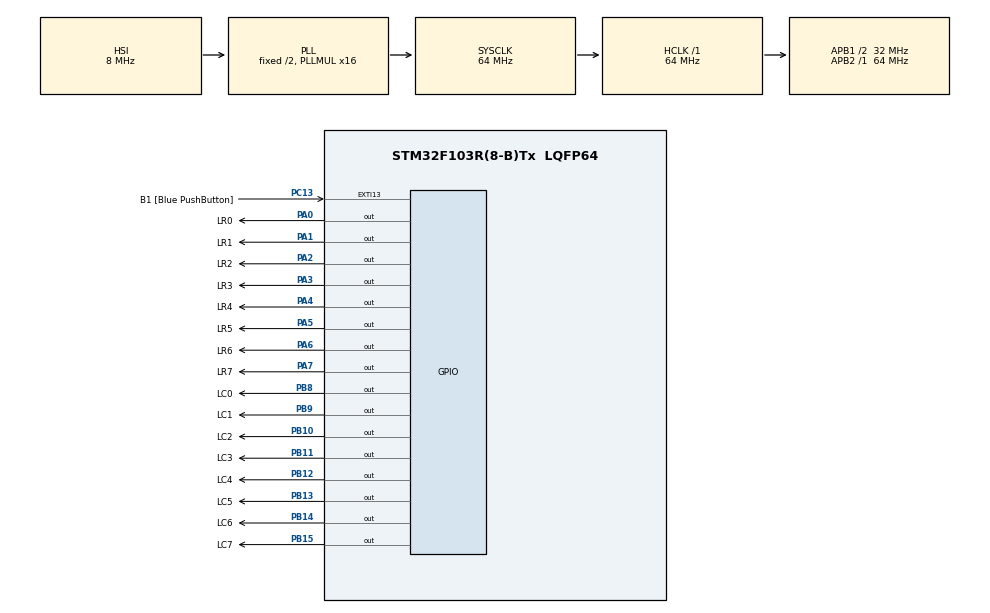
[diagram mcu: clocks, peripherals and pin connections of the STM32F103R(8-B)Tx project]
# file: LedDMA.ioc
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Dma.MEMTOMEM.0.Direction=DMA_MEMORY_TO_MEMORY
Dma.MEMTOMEM.0.Instance=DMA1_Channel1
Dma.MEMTOMEM.0.MemDataAlignment=DMA_MDATAALIGN_BYTE
Dma.MEMTOMEM.0.MemInc=DMA_MINC_DISABLE
Dma.MEMTOMEM.0.Mode=DMA_NORMAL
Dma.MEMTOMEM.0.PeriphDataAlignment=DMA_PDATAALIGN_BYTE
Dma.MEMTOMEM.0.PeriphInc=DMA_PINC_ENABLE
Dma.MEMTOMEM.0.Priority=DMA_PRIORITY_MEDIUM
Dma.MEMTOMEM.1.Direction=DMA_MEMORY_TO_MEMORY
Dma.MEMTOMEM.1.Instance=DMA1_Channel2
Dma.MEMTOMEM.1.MemDataAlignment=DMA_MDATAALIGN_HALFWORD
Dma.MEMTOMEM.1.MemInc=DMA_MINC_DISABLE
Dma.MEMTOMEM.1.Mode=DMA_NORMAL
Dma.MEMTOMEM.1.PeriphDataAlignment=DMA_PDATAALIGN_HALFWORD
Dma.MEMTOMEM.1.PeriphInc=DMA_PINC_ENABLE
Dma.MEMTOMEM.1.Priority=DMA_PRIORITY_LOW
Dma.Request0=MEMTOMEM
Dma.Request1=MEMTOMEM
Mcu.Family=STM32F1
Mcu.Name=STM32F103R(8-B)Tx
Mcu.Package=LQFP64
NVIC.EXTI15_10_IRQn=true\:0\:0\:false\:false\:true
NVIC.PriorityGroup=NVIC_PRIORITYGROUP_4
PA0-WKUP.GPIO_Label=LR0
PA0-WKUP.Signal=GPIO_Output
PA1.GPIO_Label=LR1
PA1.Signal=GPIO_Output
PA13.GPIO_Label=TMS
PA13.Mode=Serial_Wire
PA13.Signal=SYS_JTMS-SWDIO
PA14.GPIO_Label=TCK
PA14.Mode=Serial_Wire
PA14.Signal=SYS_JTCK-SWCLK
PA2.GPIO_Label=LR2
PA2.Signal=GPIO_Output
PA3.GPIO_Label=LR3
PA3.Signal=GPIO_Output
PA4.GPIO_Label=LR4
PA4.Signal=GPIO_Output
PA5.GPIO_Label=LR5
PA5.Signal=GPIO_Output
PA6.GPIO_Label=LR6
PA6.Signal=GPIO_Output
PA7.GPIO_Label=LR7
PA7.Signal=GPIO_Output
PB10.GPIO_Label=LC2
PB10.Signal=GPIO_Output
PB11.GPIO_Label=LC3
PB11.Signal=GPIO_Output
PB12.GPIO_Label=LC4
PB12.Signal=GPIO_Output
PB13.GPIO_Label=LC5
PB13.Signal=GPIO_Output
PB14.GPIO_Label=LC6
PB14.Signal=GPIO_Output
PB15.GPIO_Label=LC7
PB15.Signal=GPIO_Output
PB3.GPIO_Label=SWO
PB3.Signal=SYS_JTDO-TRACESWO
PB8.GPIO_Label=LC0
PB8.Signal=GPIO_Output
PB9.GPIO_Label=LC1
PB9.Signal=GPIO_Output
PC13-TAMPER-RTC.GPIO_Label=B1 [Blue PushButton]
PC13-TAMPER-RTC.GPIO_ModeDefaultEXTI=GPIO_MODE_IT_FALLING
PC13-TAMPER-RTC.GPIO_PuPd=GPIO_NOPULL
PC13-TAMPER-RTC.Signal=GPXTI13
PC14-OSC32_IN.Signal=RCC_OSC32_IN
PC15-OSC32_OUT.Signal=RCC_OSC32_OUT
PD0-OSC_IN.Signal=RCC_OSC_IN
PD1-OSC_OUT.Signal=RCC_OSC_OUT
ProjectManager.HeapSize=0x200
ProjectManager.StackSize=0x400
ProjectManager.TargetToolchain=SW4STM32
RCC.AHBFreq_Value=64000000
RCC.APB1CLKDivider=RCC_HCLK_DIV2
RCC.APB1Freq_Value=32000000
RCC.APB1TimFreq_Value=64000000
RCC.APB2Freq_Value=64000000
RCC.APB2TimFreq_Value=64000000
RCC.HCLKFreq_Value=64000000
RCC.PLLMUL=RCC_PLL_MUL16
RCC.SYSCLKFreq_VALUE=64000000
RCC.SYSCLKSource=RCC_SYSCLKSOURCE_PLLCLK
RCC.USBFreq_Value=64000000
board=NUCLEO-F103RB

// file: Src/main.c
/**
 ******************************************************************************
 * File Name          : main.c
 * Description        : Main program body
 ******************************************************************************
 ** This notice applies to any and all portions of this file
 * that are not between comment pairs USER CODE BEGIN and
 * USER CODE END. Other portions of this file, whether
 * inserted by the user or by software development tools
 * are owned by their respective copyright owners.
 *
 * COPYRIGHT(c) 2017 STMicroelectronics
 *
 * Redistribution and use in source and binary forms, with or without modification,
 * are permitted provided that the following conditions are met:
 *   1. Redistributions of source code must retain the above copyright notice,
 *      this list of conditions and the following disclaimer.
 *   2. Redistributions in binary form must reproduce the above copyright notice,
 *      this list of conditions and the following disclaimer in the documentation
 *      and/or other materials provided with the distribution.
 *   3. Neither the name of STMicroelectronics nor the names of its contributors
 *      may be used to endorse or promote products derived from this software
 *      without specific prior written permission.
 *
 * THIS SOFTWARE IS PROVIDED BY THE COPYRIGHT HOLDERS AND CONTRIBUTORS "AS IS"
 * AND ANY EXPRESS OR IMPLIED WARRANTIES, INCLUDING, BUT NOT LIMITED TO, THE
 * IMPLIED WARRANTIES OF MERCHANTABILITY AND FITNESS FOR A PARTICULAR PURPOSE ARE
 * DISCLAIMED. IN NO EVENT SHALL THE COPYRIGHT HOLDER OR CONTRIBUTORS BE LIABLE
 * FOR ANY DIRECT, INDIRECT, INCIDENTAL, SPECIAL, EXEMPLARY, OR CONSEQUENTIAL
 * DAMAGES (INCLUDING, BUT NOT LIMITED TO, PROCUREMENT OF SUBSTITUTE GOODS OR
 * SERVICES; LOSS OF USE, DATA, OR PROFITS; OR BUSINESS INTERRUPTION) HOWEVER
 * CAUSED AND ON ANY THEORY OF LIABILITY, WHETHER IN CONTRACT, STRICT LIABILITY,
 * OR TORT (INCLUDING NEGLIGENCE OR OTHERWISE) ARISING IN ANY WAY OUT OF THE USE
 * OF THIS SOFTWARE, EVEN IF ADVISED OF THE POSSIBILITY OF SUCH DAMAGE.
 *
 ******************************************************************************
 */
#include "main.h"
#include "stm32f1xx_hal.h"

DMA_HandleTypeDef hdma_memtomem_dma1_channel1;
DMA_HandleTypeDef hdma_memtomem_dma1_channel2;

/* USER CODE BEGIN PV */
/* Private variables ---------------------------------------------------------*/

/* USER CODE END PV */

void SystemClock_Config(void);
static void MX_GPIO_Init(void);
static void MX_DMA_Init(void);

/* USER CODE BEGIN PFP */
/* Private function prototypes -----------------------------------------------*/
#define DELAYTIME 150
/* USER CODE END PFP */

/* USER CODE BEGIN 0 */

//I use PB_8 to P_B15 instead of P_B0 to P_B7, so 0x0100 instead of 0x01.
const uint16_t columnchange[128] = {
		0x0100, 0x0100, 0x0100, 0x0100, 0x0100, 0x0100, 0x0100, 0x0100, 0x0100, 0x0100, 0x0100, 0x0100, 0x0100, 0x0100, 0x0100, 0x0100,
		0x0200, 0x0200, 0x0200, 0x0200, 0x0200, 0x0200, 0x0200, 0x0200, 0x0200, 0x0200, 0x0200, 0x0200, 0x0200, 0x0200, 0x0200, 0x0200,
		0x0400, 0x0400, 0x0400, 0x0400, 0x0400, 0x0400, 0x0400, 0x0400, 0x0400, 0x0400, 0x0400, 0x0400, 0x0400, 0x0400, 0x0400, 0x0400,
		0x0800, 0x0800, 0x0800, 0x0800, 0x0800, 0x0800, 0x0800, 0x0800, 0x0800, 0x0800, 0x0800, 0x0800, 0x0800, 0x0800, 0x0800, 0x0800,
		0x1000, 0x1000, 0x1000, 0x1000, 0x1000, 0x1000, 0x1000, 0x1000, 0x1000, 0x1000, 0x1000, 0x1000, 0x1000, 0x1000, 0x1000, 0x1000,
		0x2000, 0x2000, 0x2000, 0x2000, 0x2000, 0x2000, 0x2000, 0x2000, 0x2000, 0x2000, 0x2000, 0x2000, 0x2000, 0x2000, 0x2000, 0x2000,
		0x4000, 0x4000, 0x4000, 0x4000, 0x4000, 0x4000, 0x4000, 0x4000, 0x4000, 0x4000, 0x4000, 0x4000, 0x4000, 0x4000, 0x4000, 0x4000,
		0x8000, 0x8000, 0x8000, 0x8000, 0x8000, 0x8000, 0x8000, 0x8000, 0x8000, 0x8000, 0x8000, 0x8000, 0x8000, 0x8000, 0x8000, 0x8000};

uint8_t bufin[8][8] = {
		{0x01,0x03,0x05,0x07,0x09,0x0B,0x0D,0x10},
		{0x01,0x03,0x05,0x07,0x09,0x0B,0x0D,0x10},
		{0x01,0x03,0x05,0x07,0x09,0x0B,0x0D,0x10},
		{0x01,0x03,0x05,0x07,0x09,0x0B,0x0D,0x10},
		{0x01,0x03,0x05,0x07,0x09,0x0B,0x0D,0x10},
		{0x01,0x03,0x05,0x07,0x09,0x0B,0x0D,0x10},
		{0x01,0x03,0x05,0x07,0x09,0x0B,0x0D,0x10},
		{0x01,0x03,0x05,0x07,0x09,0x0B,0x0D,0x10}};

uint8_t bufout[128] = {0};

//Converts the normal 8*8 array to one that the DMA understands.
void convertarray(uint8_t arrout[], uint8_t arrin[], uint8_t X, uint8_t Y, uint8_t bits)
{
	uint64_t TempArr[8] = {0};
	uint16_t bitsPow2 = 1<<bits;
	uint16_t bitsPowminus = bitsPow2-1;
	for(int x = 0; x < 8; x++)
	{
		for(int i = 0; i < 8; i++)
		{
			TempArr[i] = (((uint64_t)1<<(uint64_t)arrin[(x*8)+i])-1);
		}
		for(int i = 0; i < bitsPow2; i++)
		{
			arrout[(x*bitsPow2)+i] =  ((TempArr[0]>>(bitsPowminus-i)&1)<<7);
			arrout[(x*bitsPow2)+i] += ((TempArr[1]>>(bitsPowminus-i)&1)<<6);
			arrout[(x*bitsPow2)+i] += ((TempArr[2]>>(bitsPowminus-i)&1)<<5);
			arrout[(x*bitsPow2)+i] += ((TempArr[3]>>(bitsPowminus-i)&1)<<4);
			arrout[(x*bitsPow2)+i] += ((TempArr[4]>>(bitsPowminus-i)&1)<<3);
			arrout[(x*bitsPow2)+i] += ((TempArr[5]>>(bitsPowminus-i)&1)<<2);
			arrout[(x*bitsPow2)+i] += ((TempArr[6]>>(bitsPowminus-i)&1)<<1);
			arrout[(x*bitsPow2)+i] += ((TempArr[7]>>(bitsPowminus-i)&1));
		}
	}
}

//Shift all datapoints in the 8*8 array one place left.
void left_rotate(uint8_t array[8][8])
{
	for(int i = 0; i < 8; i++)
	{
		uint8_t temp = array[i][0];
		for(int n = 0; n < 8; n++)
		{
			array[i][n] = array[i][n+1];
		}
		array[i][7] = temp;
	}
}

//The HAL_DMA_Start command has a lot of checks, to enable both DMA channels almost exactly at the same time
//the HAL_DMA_SetReady function can be used. It only setups the DMA so the quick method of just setting the
//enable bit can be used to start the DMA
HAL_StatusTypeDef HAL_DMA_SetReady(DMA_HandleTypeDef *hdma, uint32_t SrcAddress, uint32_t DstAddress, uint32_t DataLength)
{
	/* Process locked */
	__HAL_LOCK(hdma);

	/* Change DMA peripheral state */
	hdma->State = HAL_DMA_STATE_BUSY;

	/* Check the parameters */
	assert_param(IS_DMA_BUFFER_SIZE(DataLength));

	/* Disable the peripheral */
	__HAL_DMA_DISABLE(hdma);

	/* Configure the source, destination address and the data length */
	/* Configure DMA Channel data length */
	hdma->Instance->CNDTR = DataLength;

	/* Peripheral to Memory */
	if((hdma->Init.Direction) == DMA_MEMORY_TO_PERIPH)
	{
		/* Configure DMA Channel destination address */
		hdma->Instance->CPAR = DstAddress;

		/* Configure DMA Channel source address */
		hdma->Instance->CMAR = SrcAddress;
	}
	/* Memory to Peripheral */
	else
	{
		/* Configure DMA Channel source address */
		hdma->Instance->CPAR = SrcAddress;

		/* Configure DMA Channel destination address */
		hdma->Instance->CMAR = DstAddress;
	}

	return HAL_OK;
}

/* USER CODE END 0 */

int main(void)
{

	/* MCU Configuration----------------------------------------------------------*/

	/* Reset of all peripherals, Initializes the Flash interface and the Systick. */
	HAL_Init();

	/* Configure the system clock */
	SystemClock_Config();

	/* Initialize all configured peripherals */
	MX_GPIO_Init();
	MX_DMA_Init();

	/* USER CODE BEGIN 2 */
	//Set the DMA to transfer data from ledbug1/columnchange to the GPIOA and GPIOB register
	HAL_DMA_SetReady(&hdma_memtomem_dma1_channel1, (uint32_t *)bufout, &GPIOA->ODR, 128);
	HAL_DMA_SetReady(&hdma_memtomem_dma1_channel2, (uint32_t *)columnchange, &GPIOB->ODR, 128);
	DMA1_Channel1->CCR |= 0x01;
	DMA1_Channel2->CCR |= 0x01;
	/* USER CODE END 2 */

	/* Infinite loop */
	while (1)
	{
		left_rotate(bufin);
		convertarray(bufout, (uint8_t*)bufin, 8, 8, 4);
		HAL_Delay(DELAYTIME);
	}

}

/** System Clock Configuration
 */
void SystemClock_Config(void)
{

	RCC_OscInitTypeDef RCC_OscInitStruct;
	RCC_ClkInitTypeDef RCC_ClkInitStruct;

	/**Initializes the CPU, AHB and APB busses clocks
	 */
	RCC_OscInitStruct.OscillatorType = RCC_OSCILLATORTYPE_HSI;
	RCC_OscInitStruct.HSIState = RCC_HSI_ON;
	RCC_OscInitStruct.HSICalibrationValue = 16;
	RCC_OscInitStruct.PLL.PLLState = RCC_PLL_ON;
	RCC_OscInitStruct.PLL.PLLSource = RCC_PLLSOURCE_HSI_DIV2;
	RCC_OscInitStruct.PLL.PLLMUL = RCC_PLL_MUL16;
	if (HAL_RCC_OscConfig(&RCC_OscInitStruct) != HAL_OK)
	{
		_Error_Handler(__FILE__, __LINE__);
	}

	/**Initializes the CPU, AHB and APB busses clocks
	 */
	RCC_ClkInitStruct.ClockType = RCC_CLOCKTYPE_HCLK|RCC_CLOCKTYPE_SYSCLK
			|RCC_CLOCKTYPE_PCLK1|RCC_CLOCKTYPE_PCLK2;
	RCC_ClkInitStruct.SYSCLKSource = RCC_SYSCLKSOURCE_PLLCLK;
	RCC_ClkInitStruct.AHBCLKDivider = RCC_SYSCLK_DIV1;
	RCC_ClkInitStruct.APB1CLKDivider = RCC_HCLK_DIV2;
	RCC_ClkInitStruct.APB2CLKDivider = RCC_HCLK_DIV1;

	if (HAL_RCC_ClockConfig(&RCC_ClkInitStruct, FLASH_LATENCY_2) != HAL_OK)
	{
		_Error_Handler(__FILE__, __LINE__);
	}

	/**Configure the Systick interrupt time
	 */
	HAL_SYSTICK_Config(HAL_RCC_GetHCLKFreq()/1000);

	/**Configure the Systick
	 */
	HAL_SYSTICK_CLKSourceConfig(SYSTICK_CLKSOURCE_HCLK);

	/* SysTick_IRQn interrupt configuration */
	HAL_NVIC_SetPriority(SysTick_IRQn, 0, 0);
}

static void MX_DMA_Init(void)
{
	/* DMA controller clock enable */
	__HAL_RCC_DMA1_CLK_ENABLE();

	/* Configure DMA request hdma_memtomem_dma1_channel1 on DMA1_Channel1 */
	hdma_memtomem_dma1_channel1.Instance = DMA1_Channel1;
	hdma_memtomem_dma1_channel1.Init.Direction = DMA_MEMORY_TO_MEMORY;
	hdma_memtomem_dma1_channel1.Init.PeriphInc = DMA_PINC_ENABLE;
	hdma_memtomem_dma1_channel1.Init.MemInc = DMA_MINC_DISABLE;
	hdma_memtomem_dma1_channel1.Init.PeriphDataAlignment = DMA_PDATAALIGN_BYTE;
	hdma_memtomem_dma1_channel1.Init.MemDataAlignment = DMA_MDATAALIGN_BYTE;
	hdma_memtomem_dma1_channel1.Init.Mode = DMA_CIRCULAR;
	hdma_memtomem_dma1_channel1.Init.Priority = DMA_PRIORITY_MEDIUM;
	if (HAL_DMA_Init(&hdma_memtomem_dma1_channel1) != HAL_OK)
	{
		_Error_Handler(__FILE__, __LINE__);
	}

	/* Configure DMA request hdma_memtomem_dma1_channel2 on DMA1_Channel2 */
	hdma_memtomem_dma1_channel2.Instance = DMA1_Channel2;
	hdma_memtomem_dma1_channel2.Init.Direction = DMA_MEMORY_TO_MEMORY;
	hdma_memtomem_dma1_channel2.Init.PeriphInc = DMA_PINC_ENABLE;
	hdma_memtomem_dma1_channel2.Init.MemInc = DMA_MINC_DISABLE;
	hdma_memtomem_dma1_channel2.Init.PeriphDataAlignment = DMA_PDATAALIGN_HALFWORD;
	hdma_memtomem_dma1_channel2.Init.MemDataAlignment = DMA_MDATAALIGN_HALFWORD;
	hdma_memtomem_dma1_channel2.Init.Mode = DMA_CIRCULAR;
	hdma_memtomem_dma1_channel2.Init.Priority = DMA_PRIORITY_LOW;
	if (HAL_DMA_Init(&hdma_memtomem_dma1_channel2) != HAL_OK)
	{
		_Error_Handler(__FILE__, __LINE__);
	}

}

/** Configure pins as
 * Analog
 * Input
 * Output
 * EVENT_OUT
 * EXTI
 */
static void MX_GPIO_Init(void)
{

	GPIO_InitTypeDef GPIO_InitStruct;

	/* GPIO Ports Clock Enable */
	__HAL_RCC_GPIOC_CLK_ENABLE();
	__HAL_RCC_GPIOD_CLK_ENABLE();
	__HAL_RCC_GPIOA_CLK_ENABLE();
	__HAL_RCC_GPIOB_CLK_ENABLE();

	/*Configure GPIO pin Output Level */
	HAL_GPIO_WritePin(GPIOA, LR0_Pin|LR1_Pin|LR2_Pin|LR3_Pin
			|LR4_Pin|LR5_Pin|LR6_Pin|LR7_Pin, GPIO_PIN_RESET);

	/*Configure GPIO pin Output Level */
	HAL_GPIO_WritePin(GPIOB, LC2_Pin|LC3_Pin|LC4_Pin|LC5_Pin
			|LC6_Pin|LC7_Pin|LC0_Pin|LC1_Pin, GPIO_PIN_RESET);

	/*Configure GPIO pin : B1_Pin */
	GPIO_InitStruct.Pin = B1_Pin;
	GPIO_InitStruct.Mode = GPIO_MODE_IT_FALLING;
	GPIO_InitStruct.Pull = GPIO_NOPULL;
	HAL_GPIO_Init(B1_GPIO_Port, &GPIO_InitStruct);

	/*Configure GPIO pins : LR0_Pin LR1_Pin LR2_Pin LR3_Pin
                           LR4_Pin LR5_Pin LR6_Pin LR7_Pin */
	GPIO_InitStruct.Pin = LR0_Pin|LR1_Pin|LR2_Pin|LR3_Pin
			|LR4_Pin|LR5_Pin|LR6_Pin|LR7_Pin;
	GPIO_InitStruct.Mode = GPIO_MODE_OUTPUT_PP;
	GPIO_InitStruct.Speed = GPIO_SPEED_FREQ_HIGH;
	HAL_GPIO_Init(GPIOA, &GPIO_InitStruct);

	/*Configure GPIO pins : LC2_Pin LC3_Pin LC4_Pin LC5_Pin
                           LC6_Pin LC7_Pin LC0_Pin LC1_Pin */
	GPIO_InitStruct.Pin = LC2_Pin|LC3_Pin|LC4_Pin|LC5_Pin
			|LC6_Pin|LC7_Pin|LC0_Pin|LC1_Pin;
	GPIO_InitStruct.Mode = GPIO_MODE_OUTPUT_PP;
	GPIO_InitStruct.Speed = GPIO_SPEED_FREQ_HIGH;
	HAL_GPIO_Init(GPIOB, &GPIO_InitStruct);

	/* EXTI interrupt init*/
	HAL_NVIC_SetPriority(EXTI15_10_IRQn, 0, 0);
	HAL_NVIC_EnableIRQ(EXTI15_10_IRQn);

}

void _Error_Handler(char * file, int line)
{
	while(1)
	{
	}
}

/************************ (C) COPYRIGHT STMicroelectronics *****END OF FILE****/
